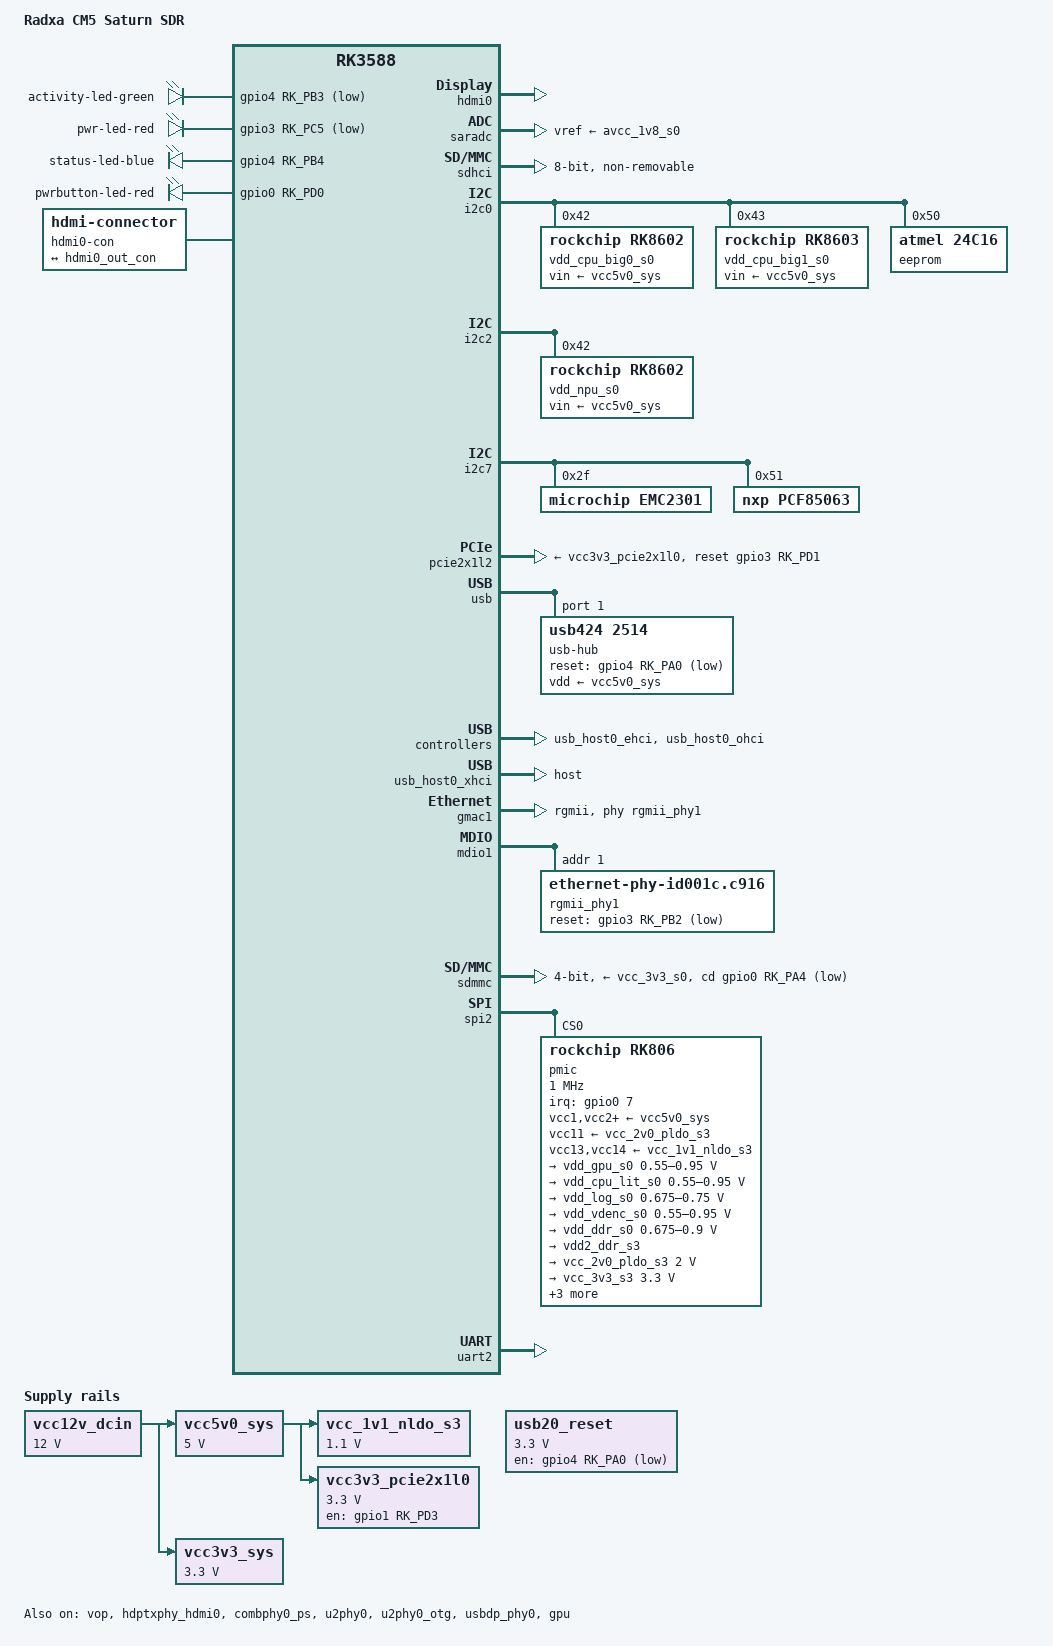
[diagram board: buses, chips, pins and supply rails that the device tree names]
// SPDX-License-Identifier: (GPL-2.0+ OR MIT)

/dts-v1/;

/* Sept. 2024, Martinus Stroomer 
 *      CT1IQI
 * ct1iqi@cacelense.pt
 * Device tree for Radxa CM5 on Saturn PCB,
 * VERSION without control front panel,
 * applied in Apache-Labs Anan G2 Software Defined Radio
 * Basics for version without control front
 * Compatible with Linux main stream kernel 6.11
 * Power switch LED pin # 3 on 2x20 header
 */
 
#include <dt-bindings/input/input.h>
#include <dt-bindings/gpio/gpio.h>
#include <dt-bindings/leds/common.h>
#include <dt-bindings/pinctrl/rockchip.h>
#include <dt-bindings/soc/rockchip,vop2.h>
#include "rk3588s.dtsi"

/ {
	model = "Radxa CM5 Saturn SDR";
	compatible = "radxa,cm5-rpi-cm4-io", "radxa,cm5", "rockchip,rk3588";

	aliases {
		ethernet0 = &gmac1;
		mmc0 = &sdhci;
		mmc1 = &sdmmc;
	};

	chosen {
		stdout-path = "serial2:1500000n8";
	};

	vcc12v_dcin: vcc12v-dcin {
		compatible = "regulator-fixed";
		regulator-name = "vcc12v_dcin";
		regulator-always-on;
		regulator-boot-on;
		regulator-min-microvolt = <12000000>;
		regulator-max-microvolt = <12000000>;
	};

	vcc5v0_sys: vcc5v0-sys {
		compatible = "regulator-fixed";
		regulator-name = "vcc5v0_sys";
		regulator-always-on;
		regulator-boot-on;
		regulator-min-microvolt = <5000000>;
		regulator-max-microvolt = <5000000>;
		vin-supply = <&vcc12v_dcin>;
	};

	vcc_1v1_nldo_s3: vcc-1v1-nldo-s3 {
		compatible = "regulator-fixed";
		regulator-name = "vcc_1v1_nldo_s3";
		regulator-always-on;
		regulator-boot-on;
		regulator-min-microvolt = <1100000>;
		regulator-max-microvolt = <1100000>;
		vin-supply = <&vcc5v0_sys>;
	};

	usb20_reset: usb-up-regulator {
		compatible = "regulator-fixed";
		enable-active-low;
		gpio = <&gpio4 RK_PA0 GPIO_ACTIVE_LOW>;
		pinctrl-names = "default";
		pinctrl-0 = <&usb20_reset_pin>;
		regulator-name = "usb20_reset";
		regulator-min-microvolt = <3300000>;
		regulator-max-microvolt = <3300000>;
	};

	hdmi0_sound: hdmi0-sound {
		status = "okay";
		compatible = "rockchip,hdmi";
		rockchip,mclk-fs = <128>;
		rockchip,card-name = "rockchip-hdmi0";
		rockchip,cpu = <&i2s5_8ch>;
		rockchip,codec = <&hdmi0>;
		rockchip,jack-det;
	};

	vcc3v3_sys: vcc3v3-sys {
		compatible = "regulator-fixed";
		regulator-name = "vcc3v3_sys";
		regulator-always-on;
		regulator-boot-on;
		regulator-min-microvolt = <3300000>;
		regulator-max-microvolt = <3300000>;
		vin-supply = <&vcc12v_dcin>;
	};

	vcc3v3_pcie2x1l0: vcc3v3-pcie2x1l0 {
		compatible = "regulator-fixed";
		regulator-name = "vcc3v3_pcie2x1l0";
		regulator-min-microvolt = <3300000>;
		regulator-max-microvolt = <3300000>;
		enable-active-high;
		regulator-boot-on;
		regulator-always-on;
		gpios = <&gpio1 RK_PD3 GPIO_ACTIVE_HIGH>;
		startup-delay-us = <50000>;
		vin-supply = <&vcc5v0_sys>;
	};

	leds {
		compatible = "gpio-leds";
		pinctrl-names = "default";

		activity-led-green {
			gpios = <&gpio4 RK_PB3 GPIO_ACTIVE_LOW>;
			linux,default-trigger = "heartbeat";
			default-state = "on";
		};

		pwr-led-red {
			gpios = <&gpio3 RK_PC5 GPIO_ACTIVE_LOW>;
			linux,default-trigger = "default-on";
		};
		
		status-led-blue {
			gpios = <&gpio4 RK_PB4 GPIO_ACTIVE_HIGH>;
			linux,default-trigger = "heartbeat";
			default-state = "on";
		};
		
		/*
			gpio 2x20 pin # : 
			1.8 V domain: VCCIO6; gpiochip4
			# 32: gpio4 RK_PB2, (cm4 gpio 12); line '10' gpiod
			3.3 V domain: PMUIO2; gpiochip0
			#  3: gpio0 RK_PD0, (cm4 gpio  2); line '11' gpiod
			#  5: gpio0 RK_PC7, (cm4 gpio  3); line '10' gpiod
		*/
		pwrbutton-led-red {
			gpios = <&gpio0 RK_PD0 GPIO_ACTIVE_HIGH>;
			linux,default-trigger = "default-on";
			default-state = "on";
		};
	};

/* _________ VOP2 support missing 6.11 __________*/	
	vop_opp_table: vop-opp-table {
		compatible = "operating-points-v2";

		nvmem-cells = <&log_leakage>;
		nvmem-cell-names = "leakage";

		rockchip,init-freq = <750000>; /* KHz */

		rockchip,leakage-voltage-sel = <
			1	31	0
			32	44	1
			45	57	2
			58	254	3
		>;

		opp-5000000000 {
			opp-hz = /bits/ 64 <500000000>;
			opp-microvolt = <725000 725000 800000>;
			opp-microvolt-L1 = <700000 700000 800000>;
			opp-microvolt-L2 = <687500 687500 800000>;
			opp-microvolt-L3 = <675000 675000 800000>;
		};
		opp-7500000000 {
			opp-hz = /bits/ 64 <750000000>;
			opp-microvolt = <725000 725000 800000>;
			opp-microvolt-L1 = <700000 700000 800000>;
			opp-microvolt-L2 = <687500 687500 800000>;
			opp-microvolt-L3 = <675000 675000 800000>;
		};
		opp-8500000000 {
			opp-hz = /bits/ 64 <850000000>;
			opp-microvolt = <800000 800000 800000>;
			opp-microvolt-L1 = <775000 775000 800000>;
			opp-microvolt-L2 = <750000 750000 800000>;
			opp-microvolt-L3 = <750000 750000 800000>;
		};
	};

	// /drivers/gpu/drm/bridge/display_connector.c
	hdmi0-con {
		compatible = "hdmi-connector";
		type = "a";

		port {
			hdmi0_con_in: endpoint {
				remote-endpoint = <&hdmi0_out_con>;
			};
		};
	};
};

&display_subsystem {
	clocks = <&hdptxphy_hdmi0>;
	clock-names = "hdmi0_phy_pll";
};

/* _________ VOP __________ */
&vop {
	status = "okay";
};

&vop_mmu {
	status = "okay";
};

/* _________ HDMI-0 __________*/
&hdptxphy_hdmi0 {
	status = "okay";
};

&hdmi0_in {
	hdmi0_input: endpoint {
	remote-endpoint = <&output_hdmi0>;
	};
};

&hdmi0 {
	status = "okay";
	enable-gpios = <&gpio4 RK_PB6 GPIO_ACTIVE_HIGH>;
};

&hdmi0_out {
	hdmi0_out_con: endpoint {
		remote-endpoint = <&hdmi0_con_in>;
	};
};

/* ______ VOP2 video processing settings ___ */
&vop {
	status = "okay";
};

&vop_mmu {
	status = "okay";
};

/* !! vp1 to hdmi0 !! */
&vp1 {
	output_hdmi0: endpoint@ROCKCHIP_VOP2_EP_HDMI0 {
		reg = <ROCKCHIP_VOP2_EP_HDMI0>;
		remote-endpoint = <&hdmi0_input>;
	};
};

/* ____ disable unused vp _____*/
&vop_out {
	/delete-node/ vp0;
	/delete-node/ vp2;
};

/* ____________________________*/

&saradc {
	vref-supply = <&avcc_1v8_s0>;
	status = "okay";
};

&sdhci {
	bus-width = <8>;
	no-sdio;
	no-sd;
	non-removable;
	mmc-hs400-1_8v;
	mmc-hs400-enhanced-strobe;
	status = "okay";
};

&cpu_b0 {
	cpu-supply = <&vdd_cpu_big0_s0>;
};

&cpu_b1 {
	cpu-supply = <&vdd_cpu_big0_s0>;
};

&cpu_b2 {
	cpu-supply = <&vdd_cpu_big1_s0>;
};

&cpu_b3 {
	cpu-supply = <&vdd_cpu_big1_s0>;
};

&cpu_l0 {
	cpu-supply = <&vdd_cpu_lit_s0>;
};

&cpu_l1 {
	cpu-supply = <&vdd_cpu_lit_s0>;
};

&cpu_l2 {
	cpu-supply = <&vdd_cpu_lit_s0>;
};

&cpu_l3 {
	cpu-supply = <&vdd_cpu_lit_s0>;
};

&i2c0 {
	pinctrl-names = "default";
	pinctrl-0 = <&i2c0m2_xfer>;
	status = "okay";

	vdd_cpu_big0_s0: regulator@42 {
		compatible = "rockchip,rk8602";
		reg = <0x42>;
		fcs,suspend-voltage-selector = <1>;
		regulator-name = "vdd_cpu_big0_s0";
		regulator-always-on;
		regulator-boot-on;
		regulator-min-microvolt = <550000>;
		regulator-max-microvolt = <1050000>;
		regulator-ramp-delay = <2300>;
		vin-supply = <&vcc5v0_sys>;

		regulator-state-mem {
			regulator-off-in-suspend;
		};
	};

	vdd_cpu_big1_s0: regulator@43 {
		compatible = "rockchip,rk8603", "rockchip,rk8602";
		reg = <0x43>;
		fcs,suspend-voltage-selector = <1>;
		regulator-name = "vdd_cpu_big1_s0";
		regulator-always-on;
		regulator-boot-on;
		regulator-min-microvolt = <550000>;
		regulator-max-microvolt = <1050000>;
		regulator-ramp-delay = <2300>;
		vin-supply = <&vcc5v0_sys>;

		regulator-state-mem {
			regulator-off-in-suspend;
		};
	};
	
	eeprom:	at24c16@50 {
		status = "okay";
		compatible = "atmel,24c16";
		reg = <0x50>;
		pagesize = <16>;
	};
};

&i2c2 {
	status = "okay";
	pinctrl-names = "default";
	pinctrl-0 = <&i2c2m0_xfer>;

	vdd_npu_s0: vdd_npu_mem_s0: rk8602@42 {
		compatible = "rockchip,rk8602";
		reg = <0x42>;
		vin-supply = <&vcc5v0_sys>;
		regulator-compatible = "rk860x-reg";
		regulator-name = "vdd_npu_s0";
		regulator-min-microvolt = <550000>;
		regulator-max-microvolt = <950000>;
		regulator-ramp-delay = <2300>;
		rockchip,suspend-voltage-selector = <1>;
		regulator-boot-on;
		regulator-always-on;
		regulator-state-mem {
			regulator-off-in-suspend;
		};
	};
};

&i2c7 {
	status = "okay";
	pinctrl-names = "default";
	pinctrl-0 = <&i2c7m2_xfer>;

	emc2301: emc2301@2f {
		status = "okay";
		compatible = "microchip,emc2301";
		reg = <0x2f>;
		#address-cells = <1>;
		#size-cells = <0>;
		#cooling-cells = <1>;
		microchip,cooling-levels = <10>;
		channel@0 {
			reg = <0>;
			pwm-min = <0>;
		};
	};

	pcf85063: pcf85063@51 {
		compatible = "nxp,pcf85063";
		status = "okay";
		reg = <0x51>;
		quartz-load-femtofarads = <12500>;
		/* interrupt can via jumper CON2_1 u444 
		be connected to RUN_PG conn. A pin# 92 */
	};
};

&pinctrl {
	usb {
		usb20_reset_pin: usb20-reset {
			/* pin# 100 Conn A / SPIO_MISO_M1 / GPIO4_A0 */
			rockchip,pins = <4 RK_PA0 RK_FUNC_GPIO &pcfg_output_high>;
		};
	};
};

&pcie2x1l2 {
	reset-gpios = <&gpio3 RK_PD1 GPIO_ACTIVE_HIGH>;
	vpcie3v3-supply = <&vcc3v3_pcie2x1l0>;
	status = "okay";
};

&combphy0_ps {
	status = "okay";
};

&u2phy0 {
	status = "okay";
    usb {
    	#address-cells = <1>;
		#size-cells = <0>;
        usb-hub@1 {
            compatible = "usb424,2514";
            reg = <1>;
            reset-gpios = <&gpio4 RK_PA0 GPIO_ACTIVE_LOW>;
            vdd-supply = <&vcc5v0_sys>;
        };
	};
};

&u2phy0_otg {
	status = "okay";
	vbus-supply = <&vcc5v0_sys>;
};

&usbdp_phy0 {
	status = "okay";
	rockchip,dp-lane-mux = <2 3>;
};

&usb_host0_ehci {
	status = "okay";
	pinctrl-names = "default";
};

&usb_host0_ohci {
	status = "okay";
};

&usb_host0_xhci {
	dr_mode = "host";
	status = "okay";
};

&gmac1 {
	clock_in_out = "output";
	phy-handle = <&rgmii_phy1>;
	phy-mode = "rgmii";
	pinctrl-0 = <&gmac1_miim
		     &gmac1_tx_bus2
		     &gmac1_rx_bus2
		     &gmac1_rgmii_clk
		     &gmac1_rgmii_bus>;
	pinctrl-names = "default";
	tx_delay = <0x3a>;
	rx_delay = <0x3e>;
	status = "okay";
};

&gpu {
	mali-supply = <&vdd_gpu_s0>;
	status = "okay";
};

&mdio1 {
	rgmii_phy1: ethernet-phy@1 {
		/* RTL8211F */
		compatible = "ethernet-phy-id001c.c916";
		reg = <0x1>;
		pinctrl-names = "default";
		reset-assert-us = <20000>;
		reset-deassert-us = <100000>;
		reset-gpios = <&gpio3 RK_PB2 GPIO_ACTIVE_LOW>;
	};
};

&sdmmc {
	bus-width = <4>;
	cap-mmc-highspeed;
	cap-sd-highspeed;
	cd-gpios = <&gpio0 RK_PA4 GPIO_ACTIVE_LOW>;
	disable-wp;
	max-frequency = <150000000>;
	no-sdio;
	no-mmc;
	sd-uhs-sdr104;
	vmmc-supply = <&vcc_3v3_s0>;
	vqmmc-supply = <&vccio_sd_s0>;
	status = "okay";
};

&spi2 {
	status = "okay";
	assigned-clocks = <&cru CLK_SPI2>;
	assigned-clock-rates = <200000000>;
	num-cs = <1>;
	pinctrl-names = "default";
	pinctrl-0 = <&spi2m2_cs0 &spi2m2_pins>;

	pmic@0 {
		compatible = "rockchip,rk806";
		reg = <0x0>;
		interrupt-parent = <&gpio0>;
		interrupts = <7 IRQ_TYPE_LEVEL_LOW>;
		pinctrl-names = "default";
		pinctrl-0 = <&pmic_pins>, <&rk806_dvs1_null>,
			    <&rk806_dvs2_null>, <&rk806_dvs3_null>;
		spi-max-frequency = <1000000>;

		system-power-controller;

		vcc1-supply = <&vcc5v0_sys>;
		vcc2-supply = <&vcc5v0_sys>;
		vcc3-supply = <&vcc5v0_sys>;
		vcc4-supply = <&vcc5v0_sys>;
		vcc5-supply = <&vcc5v0_sys>;
		vcc6-supply = <&vcc5v0_sys>;
		vcc7-supply = <&vcc5v0_sys>;
		vcc8-supply = <&vcc5v0_sys>;
		vcc9-supply = <&vcc5v0_sys>;
		vcc10-supply = <&vcc5v0_sys>;
		vcc11-supply = <&vcc_2v0_pldo_s3>;
		vcc12-supply = <&vcc5v0_sys>;
		vcc13-supply = <&vcc_1v1_nldo_s3>;
		vcc14-supply = <&vcc_1v1_nldo_s3>;
		vcca-supply = <&vcc5v0_sys>;

		gpio-controller;
		#gpio-cells = <2>;

		rk806_dvs1_null: dvs1-null-pins {
			pins = "gpio_pwrctrl2";
			function = "pin_fun0";
		};

		rk806_dvs2_null: dvs2-null-pins {
			pins = "gpio_pwrctrl2";
			function = "pin_fun0";
		};

		rk806_dvs3_null: dvs3-null-pins {
			pins = "gpio_pwrctrl3";
			function = "pin_fun0";
		};

		regulators {
			vdd_gpu_s0: vdd_gpu_mem_s0: dcdc-reg1 {
				regulator-name = "vdd_gpu_s0";
				regulator-always-on;
				regulator-boot-on;
				regulator-min-microvolt = <550000>;
				regulator-max-microvolt = <950000>;
				regulator-ramp-delay = <12500>;
				regulator-enable-ramp-delay = <400>;

				regulator-state-mem {
					regulator-off-in-suspend;
				};
			};

			vdd_cpu_lit_s0: vdd_cpu_lit_mem_s0: dcdc-reg2 {
				regulator-name = "vdd_cpu_lit_s0";
				regulator-always-on;
				regulator-boot-on;
				regulator-min-microvolt = <550000>;
				regulator-max-microvolt = <950000>;
				regulator-ramp-delay = <12500>;

				regulator-state-mem {
					regulator-off-in-suspend;
				};
			};

			vdd_log_s0: dcdc-reg3 {
				regulator-name = "vdd_log_s0";
				regulator-always-on;
				regulator-boot-on;
				regulator-min-microvolt = <675000>;
				regulator-max-microvolt = <750000>;
				regulator-ramp-delay = <12500>;

				regulator-state-mem {
					regulator-off-in-suspend;
					regulator-suspend-microvolt = <750000>;
				};
			};

			vdd_vdenc_s0: vdd_vdenc_mem_s0: dcdc-reg4 {
				regulator-name = "vdd_vdenc_s0";
				regulator-always-on;
				regulator-boot-on;
				regulator-min-microvolt = <550000>;
				regulator-max-microvolt = <950000>;
				regulator-ramp-delay = <12500>;

				regulator-state-mem {
					regulator-off-in-suspend;
				};
			};

			vdd_ddr_s0: dcdc-reg5 {
				regulator-name = "vdd_ddr_s0";
				regulator-always-on;
				regulator-boot-on;
				regulator-min-microvolt = <675000>;
				regulator-max-microvolt = <900000>;
				regulator-ramp-delay = <12500>;

				regulator-state-mem {
					regulator-off-in-suspend;
					regulator-suspend-microvolt = <850000>;
				};
			};

			vdd2_ddr_s3: dcdc-reg6 {
				regulator-name = "vdd2_ddr_s3";
				regulator-always-on;
				regulator-boot-on;

				regulator-state-mem {
					regulator-on-in-suspend;
				};
			};

			vcc_2v0_pldo_s3: dcdc-reg7 {
				regulator-name = "vdd_2v0_pldo_s3";
				regulator-always-on;
				regulator-boot-on;
				regulator-min-microvolt = <2000000>;
				regulator-max-microvolt = <2000000>;
				regulator-ramp-delay = <12500>;

				regulator-state-mem {
					regulator-on-in-suspend;
					regulator-suspend-microvolt = <2000000>;
				};
			};

			vcc_3v3_s3: dcdc-reg8 {
				regulator-name = "vcc_3v3_s3";
				regulator-always-on;
				regulator-boot-on;
				regulator-min-microvolt = <3300000>;
				regulator-max-microvolt = <3300000>;

				regulator-state-mem {
					regulator-on-in-suspend;
					regulator-suspend-microvolt = <3300000>;
				};
			};

			vddq_ddr_s0: dcdc-reg9 {
				regulator-name = "vddq_ddr_s0";
				regulator-always-on;
				regulator-boot-on;

				regulator-state-mem {
					regulator-off-in-suspend;
				};
			};

			vcc_1v8_s3: dcdc-reg10 {
				regulator-name = "vcc_1v8_s3";
				regulator-always-on;
				regulator-boot-on;
				regulator-min-microvolt = <1800000>;
				regulator-max-microvolt = <1800000>;

				regulator-state-mem {
					regulator-on-in-suspend;
					regulator-suspend-microvolt = <1800000>;
				};
			};

			avcc_1v8_s0: pldo-reg1 {
				regulator-name = "avcc_1v8_s0";
				regulator-always-on;
				regulator-boot-on;
				regulator-min-microvolt = <1800000>;
				regulator-max-microvolt = <1800000>;

				regulator-state-mem {
					regulator-off-in-suspend;
				};
			};

			vcc_1v8_s0: pldo-reg2 {
				regulator-name = "vcc_1v8_s0";
				regulator-always-on;
				regulator-boot-on;
				regulator-min-microvolt = <1800000>;
				regulator-max-microvolt = <1800000>;

				regulator-state-mem {
					regulator-off-in-suspend;
					regulator-suspend-microvolt = <1800000>;
				};
			};

			avdd_1v2_s0: pldo-reg3 {
				regulator-name = "avdd_1v2_s0";
				regulator-always-on;
				regulator-boot-on;
				regulator-min-microvolt = <1200000>;
				regulator-max-microvolt = <1200000>;

				regulator-state-mem {
					regulator-off-in-suspend;
				};
			};

			vcc_3v3_s0: pldo-reg4 {
				regulator-name = "vcc_3v3_s0";
				regulator-always-on;
				regulator-boot-on;
				regulator-min-microvolt = <3300000>;
				regulator-max-microvolt = <3300000>;
				regulator-ramp-delay = <12500>;

				regulator-state-mem {
					regulator-off-in-suspend;
				};
			};

			vccio_sd_s0: pldo-reg5 {
				regulator-name = "vccio_sd_s0";
				regulator-always-on;
				regulator-boot-on;
				regulator-min-microvolt = <1800000>;
				regulator-max-microvolt = <3300000>;
				regulator-ramp-delay = <12500>;

				regulator-state-mem {
					regulator-off-in-suspend;
				};
			};

			pldo6_s3: pldo-reg6 {
				regulator-name = "pldo6_s3";
				regulator-always-on;
				regulator-boot-on;
				regulator-min-microvolt = <1800000>;
				regulator-max-microvolt = <1800000>;

				regulator-state-mem {
					regulator-on-in-suspend;
					regulator-suspend-microvolt = <1800000>;
				};
			};

			vdd_0v75_s3: nldo-reg1 {
				regulator-name = "vdd_0v75_s3";
				regulator-always-on;
				regulator-boot-on;
				regulator-min-microvolt = <750000>;
				regulator-max-microvolt = <750000>;

				regulator-state-mem {
					regulator-on-in-suspend;
					regulator-suspend-microvolt = <750000>;
				};
			};

			vdd_ddr_pll_s0: nldo-reg2 {
				regulator-name = "vdd_ddr_pll_s0";
				regulator-always-on;
				regulator-boot-on;
				regulator-min-microvolt = <850000>;
				regulator-max-microvolt = <850000>;

				regulator-state-mem {
					regulator-off-in-suspend;
					regulator-suspend-microvolt = <850000>;
				};
			};

			avdd_0v75_s0: nldo-reg3 {
				regulator-name = "avdd_0v75_s0";
				regulator-always-on;
				regulator-boot-on;
				regulator-min-microvolt = <750000>;
				regulator-max-microvolt = <750000>;

				regulator-state-mem {
					regulator-off-in-suspend;
				};
			};

			vdd_0v85_s0: nldo-reg4 {
				regulator-name = "vdd_0v85_s0";
				regulator-always-on;
				regulator-boot-on;
				regulator-min-microvolt = <850000>;
				regulator-max-microvolt = <850000>;

				regulator-state-mem {
					regulator-off-in-suspend;
				};
			};

			vdd_0v75_s0: nldo-reg5 {
				regulator-name = "vdd_0v75_s0";
				regulator-always-on;
				regulator-boot-on;
				regulator-min-microvolt = <750000>;
				regulator-max-microvolt = <750000>;

				regulator-state-mem {
					regulator-off-in-suspend;
				};
			};
		};
	};
};

&uart2 {
	// default pinctrl is m1, overrule
	pinctrl-0 = <&uart2m0_xfer>;
	status = "okay";
};




